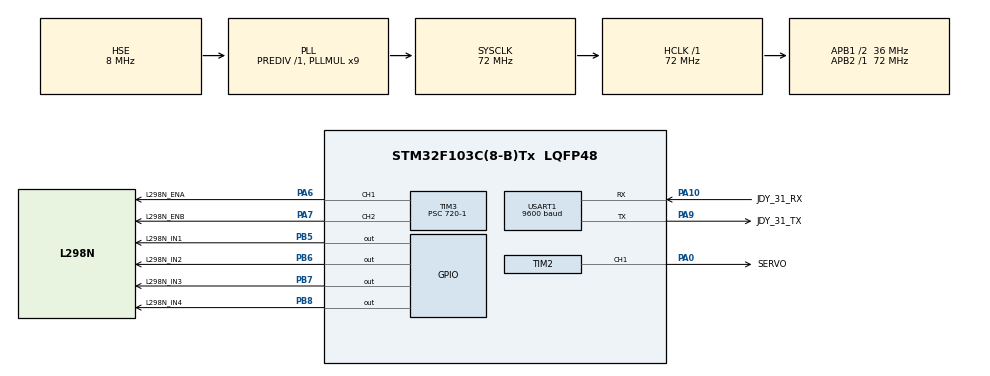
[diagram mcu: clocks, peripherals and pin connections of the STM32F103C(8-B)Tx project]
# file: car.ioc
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Mcu.Family=STM32F1
Mcu.Name=STM32F103C(8-B)Tx
Mcu.Package=LQFP48
NVIC.PriorityGroup=NVIC_PRIORITYGROUP_4
NVIC.USART1_IRQn=true\:0\:0\:false\:false\:true\:true\:true\:true
PA0-WKUP.GPIO_Label=SERVO
PA0-WKUP.Signal=S_TIM2_CH1_ETR
PA10.GPIO_Label=JDY_31_RX
PA10.Mode=Asynchronous
PA10.Signal=USART1_RX
PA13.Mode=Serial_Wire
PA13.Signal=SYS_JTMS-SWDIO
PA14.Mode=Serial_Wire
PA14.Signal=SYS_JTCK-SWCLK
PA6.GPIO_Label=L298N_ENA
PA6.Signal=S_TIM3_CH1
PA7.GPIO_Label=L298N_ENB
PA7.Signal=S_TIM3_CH2
PA9.GPIO_Label=JDY_31_TX
PA9.Mode=Asynchronous
PA9.Signal=USART1_TX
PB5.GPIO_Label=L298N_IN1
PB5.Signal=GPIO_Output
PB6.GPIO_Label=L298N_IN2
PB6.Signal=GPIO_Output
PB7.GPIO_Label=L298N_IN3
PB7.Signal=GPIO_Output
PB8.GPIO_Label=L298N_IN4
PB8.Signal=GPIO_Output
PD0-OSC_IN.Mode=HSE-External-Oscillator
PD0-OSC_IN.Signal=RCC_OSC_IN
PD1-OSC_OUT.Mode=HSE-External-Oscillator
PD1-OSC_OUT.Signal=RCC_OSC_OUT
ProjectManager.HeapSize=0x200
ProjectManager.StackSize=0x400
ProjectManager.TargetToolchain=MDK-ARM V5.32
RCC.AHBFreq_Value=72000000
RCC.APB1CLKDivider=RCC_HCLK_DIV2
RCC.APB1Freq_Value=36000000
RCC.APB1TimFreq_Value=72000000
RCC.APB2Freq_Value=72000000
RCC.APB2TimFreq_Value=72000000
RCC.HCLKFreq_Value=72000000
RCC.PLLMUL=RCC_PLL_MUL9
RCC.PLLSourceVirtual=RCC_PLLSOURCE_HSE
RCC.SYSCLKFreq_VALUE=72000000
RCC.SYSCLKSource=RCC_SYSCLKSOURCE_PLLCLK
RCC.USBFreq_Value=72000000
SH.S_TIM2_CH1_ETR.0=TIM2_CH1,PWM Generation1 CH1
SH.S_TIM3_CH1.0=TIM3_CH1,PWM Generation1 CH1
SH.S_TIM3_CH2.0=TIM3_CH2,PWM Generation2 CH2
TIM2.AutoReloadPreload=TIM_AUTORELOAD_PRELOAD_ENABLE
TIM2.Channel-PWM\ Generation1\ CH1=TIM_CHANNEL_1
TIM2.Period=2000-1
TIM2.Prescaler=720-1
TIM3.AutoReloadPreload=TIM_AUTORELOAD_PRELOAD_ENABLE
TIM3.Channel-PWM\ Generation1\ CH1=TIM_CHANNEL_1
TIM3.Channel-PWM\ Generation2\ CH2=TIM_CHANNEL_2
TIM3.Period=100-1
TIM3.Prescaler=720-1
USART1.BaudRate=9600
USART1.VirtualMode=VM_ASYNC
VP_TIM2_VS_ClockSourceINT.Mode=Internal
VP_TIM3_VS_ClockSourceINT.Mode=Internal
board=custom

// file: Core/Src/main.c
/* USER CODE BEGIN Header */
/**
 ******************************************************************************
 * @file           : main.c
 * @brief          : Main program body
 ******************************************************************************
 * @attention
 *
 * Copyright (c) 2026 STMicroelectronics.
 * All rights reserved.
 *
 * This software is licensed under terms that can be found in the LICENSE file
 * in the root directory of this software component.
 * If no LICENSE file comes with this software, it is provided AS-IS.
 *
 ******************************************************************************
 */
/* USER CODE END Header */
#include "main.h"
#include "tim.h"
#include "usart.h"
#include "gpio.h"

/* USER CODE BEGIN Includes */
#include <stdio.h>
#include <stdlib.h>
#include <string.h>
#include "servo.h"
#include "motor_control.h"
/* USER CODE END Includes */

/* USER CODE BEGIN PV */
char instructions[32];
int re_index = 0;
/* USER CODE END PV */

void SystemClock_Config(void);

/* USER CODE BEGIN 0 */

void HAL_UART_RxCpltCallback(UART_HandleTypeDef *huart)
{
  if (huart == &huart1)
  {
    char receivechar = instructions[re_index];
    // 设置好最后为x的话就是设置舵机角度
    if (receivechar == 'x')
    {
      instructions[re_index] = '\0';
      char msg[50];
      int len = sprintf(msg, "Angle: %s\r\n", instructions);
      HAL_UART_Transmit(&huart1, (uint8_t *)msg, len, 100); // 阻塞发送，超时100ms

      uint16_t number = atoi(instructions);
      Servo_SetAngle(SERVO_1, number);               // 设置舵机角度
      memset(instructions, 0, sizeof(instructions)); // 清空数组内容以防妨碍下次接收指令
      re_index = 0;                                  // 重置位置，方便接收下一条指令
    }

    // 最后是m就是设置速度
    else if (receivechar == 'm')
    {
      instructions[re_index] = '\0';
      char msg[50];
      int len = sprintf(msg, "Speed: %s\r\n", instructions);
      HAL_UART_Transmit(&huart1, (uint8_t *)msg, len, 100); // 阻塞发送，超时100ms

      uint8_t number = atoi(instructions);
      Motor_SetSpeed(&motorA, number);
      Motor_SetSpeed(&motorB, number);               // 设置速度
      memset(instructions, 0, sizeof(instructions)); // 清空数组内容以防妨碍下次接收指令
      re_index = 0;                                  // 重置位置，方便接收下一条指令
    }

    // 最后是d就是设置方向
    else if (receivechar == 'd')
    {
      instructions[re_index] = '\0';
      char msg[50];
      int len = sprintf(msg, "Directions: %s\r\n", instructions);
      HAL_UART_Transmit(&huart1, (uint8_t *)msg, len, 100); // 阻塞发送，超时100ms

      uint8_t number = atoi(instructions); // 0直行，1后退，2惯性停下，3刹车
      Motor_SetDirection(&motorA, number);
      Motor_SetDirection(&motorB, number);           // 设置方向
      memset(instructions, 0, sizeof(instructions)); // 清空数组内容以防妨碍下次接收指令
      re_index = 0;                                  // 重置位置，方便接收下一条指令
    }

    // 最后是t就是转向
    else if (receivechar == 't')
    {
      instructions[re_index] = '\0';
      char msg[50];
      int len = sprintf(msg, "Turn: %s\r\n", instructions);
      HAL_UART_Transmit(&huart1, (uint8_t *)msg, len, 100); // 阻塞发送，超时100ms

      uint16_t number = atoi(instructions); // 1原地左转，2原地右转，3软左转，4软右转，5自设角度左转，6自设角度右转
      uint8_t num = number / 1000;
      uint8_t intensity = number - 1000 * num; // 转弯强度
      switch (num)
      {
      case 1:
        Robot_TurnLeft(motorA.speed);
        break;
      case 2:
        Robot_TurnRight(motorB.speed);
        break;
      case 3:
        Robot_SoftTurnLeft(motorA.speed);
        break;
      case 4:
        Robot_SoftTurnRight(motorA.speed);
        break;
      case 5:
        Robot_ArcTurnLeft(motorA.speed, intensity);
        break;
      case 6:
        Robot_ArcTurnRight(motorB.speed, intensity);
        break;
      default:
        break;
      }

      memset(instructions, 0, sizeof(instructions)); // 清空数组内容以防妨碍下次接收指令
      re_index = 0;                                  // 重置位置，方便接收下一条指令
    }
    // 处理数字
    else if (receivechar <= '9' && receivechar >= '0')
    {
      re_index++;
    }

    else // 输入错误直接全部重置
    {
      memset(instructions, 0, sizeof(instructions));
      re_index = 0;
    }
  }
  HAL_UART_Receive_IT(&huart1, (uint8_t *)&instructions[re_index], 1);
}
// 之后补充else if来处理其他指令

/* USER CODE END 0 */

int main(void)
{

  /* MCU Configuration--------------------------------------------------------*/

  /* Reset of all peripherals, Initializes the Flash interface and the Systick. */
  HAL_Init();

  /* Configure the system clock */
  SystemClock_Config();

  /* Initialize all configured peripherals */
  MX_GPIO_Init();
  MX_TIM3_Init();
  MX_TIM2_Init();
  MX_USART1_UART_Init();
  /* USER CODE BEGIN 2 */
  char init_msg[] = "System Ready. Send angle (0-180)x\r\n";
  HAL_UART_Transmit(&huart1, (uint8_t *)init_msg, strlen(init_msg), 100);
  Servo_Init(SERVO_1, &htim2, TIM_CHANNEL_1, 0, 180);
  Motors_InitAll();
  HAL_UART_Receive_IT(&huart1, (uint8_t *)&instructions, 1);

  /* USER CODE END 2 */

  /* Infinite loop */
  while (1)
  {

  }
}

void SystemClock_Config(void)
{
  RCC_OscInitTypeDef RCC_OscInitStruct = {0};
  RCC_ClkInitTypeDef RCC_ClkInitStruct = {0};

  /** Initializes the RCC Oscillators according to the specified parameters
  * in the RCC_OscInitTypeDef structure.
  */
  RCC_OscInitStruct.OscillatorType = RCC_OSCILLATORTYPE_HSE;
  RCC_OscInitStruct.HSEState = RCC_HSE_ON;
  RCC_OscInitStruct.HSEPredivValue = RCC_HSE_PREDIV_DIV1;
  RCC_OscInitStruct.HSIState = RCC_HSI_ON;
  RCC_OscInitStruct.PLL.PLLState = RCC_PLL_ON;
  RCC_OscInitStruct.PLL.PLLSource = RCC_PLLSOURCE_HSE;
  RCC_OscInitStruct.PLL.PLLMUL = RCC_PLL_MUL9;
  if (HAL_RCC_OscConfig(&RCC_OscInitStruct) != HAL_OK)
  {
    Error_Handler();
  }

  /** Initializes the CPU, AHB and APB buses clocks
  */
  RCC_ClkInitStruct.ClockType = RCC_CLOCKTYPE_HCLK|RCC_CLOCKTYPE_SYSCLK
                              |RCC_CLOCKTYPE_PCLK1|RCC_CLOCKTYPE_PCLK2;
  RCC_ClkInitStruct.SYSCLKSource = RCC_SYSCLKSOURCE_PLLCLK;
  RCC_ClkInitStruct.AHBCLKDivider = RCC_SYSCLK_DIV1;
  RCC_ClkInitStruct.APB1CLKDivider = RCC_HCLK_DIV2;
  RCC_ClkInitStruct.APB2CLKDivider = RCC_HCLK_DIV1;

  if (HAL_RCC_ClockConfig(&RCC_ClkInitStruct, FLASH_LATENCY_2) != HAL_OK)
  {
    Error_Handler();
  }
}

void Error_Handler(void)
{
  __disable_irq();
  while (1)
  {
  }
}
